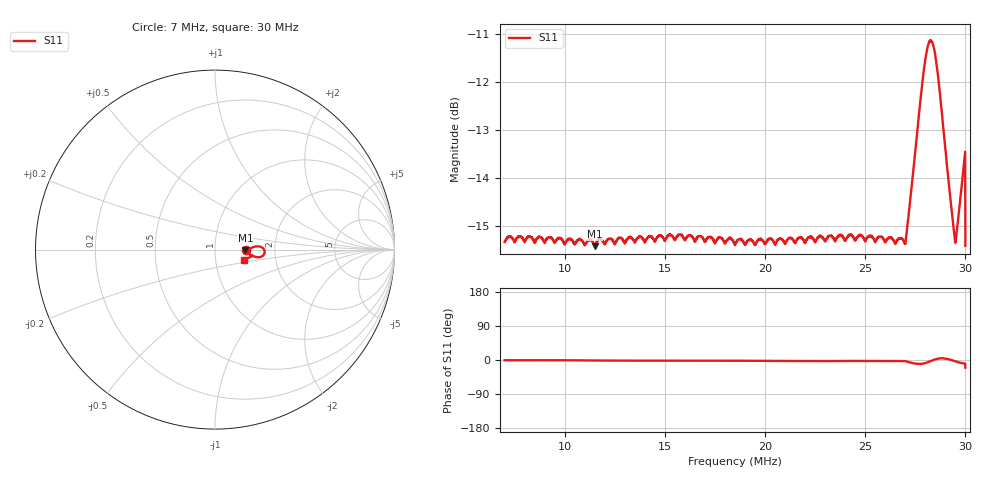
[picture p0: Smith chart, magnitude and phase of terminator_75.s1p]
! Touchstone file generated by AntScope2
# MHz Z RI R 50
! Format: Frequency Z-real Z-imaginary (normalized to 50 Ohm)
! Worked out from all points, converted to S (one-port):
!   2001 points, 7 MHz to 30 MHz, reference 50 ohm
!   lowest |S11| = -15.4 dB at 11.5 MHz (marker M1), VSWR 1.41, Z = 70.4 - j0.56 ohm
!   |S11| at or under -10 dB: start of sweep to end of sweep
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7  1.413 -0.0054
7.23  1.42 -0.0056
9.875  1.416 -0.0054
11.4965  1.408 -0.0112
12.75  1.418 -0.0144
13.003  1.411 -0.0146
13.2445  1.419 -0.0152
15.625  1.419 -0.016
18.247  1.417 -0.015
18.5  1.409 -0.016
21.375  1.415 -0.0224
24.25  1.421 -0.023
26.918  1.414 -0.0244
27.0215  1.414 -0.0284
27.125  1.435 -0.0466
27.539  1.538 -0.1188
27.792  1.624 -0.148
28.045  1.719 -0.1288
28.252  1.764 -0.0598
28.367  1.759 -0.0126
28.482  1.734 0.026
28.758  1.63 0.0646
29.0225  1.534 0.0416
29.4365  1.424 -0.0206
29.517  1.413 -0.0332
29.586  1.427 -0.0444
29.8735  1.493 -0.0938
30  1.367 -0.1652
